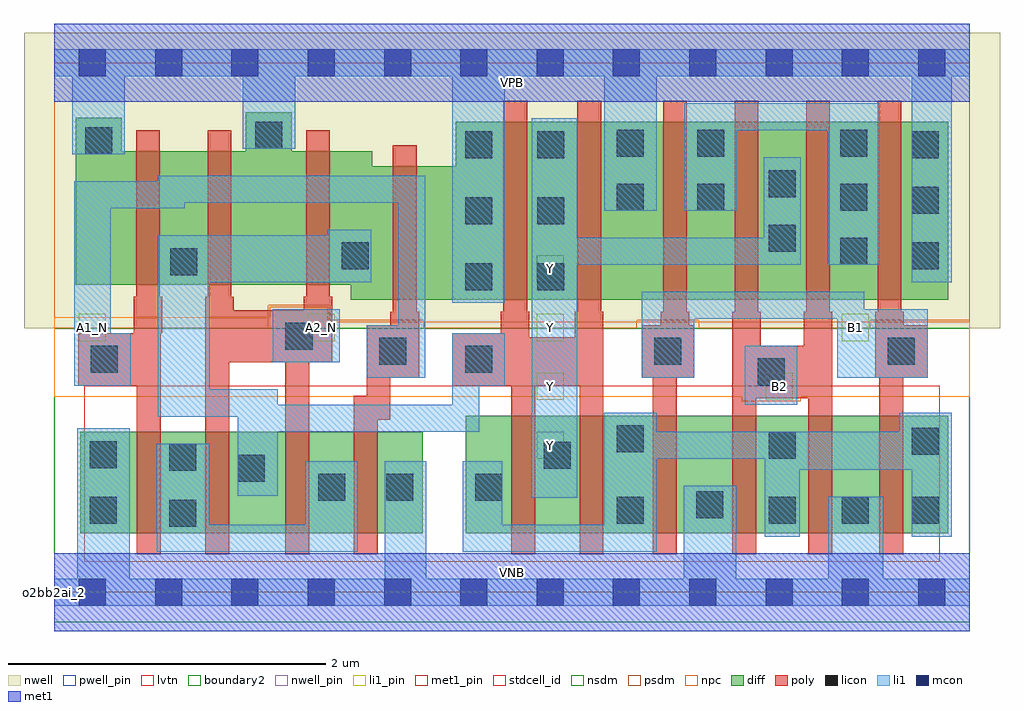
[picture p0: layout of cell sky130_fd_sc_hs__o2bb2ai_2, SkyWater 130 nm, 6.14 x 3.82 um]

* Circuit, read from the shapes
.subckt sky130_fd_sc_hs__o2bb2ai_2 A1_N A2_N B1 B2 VGND VNB VPB VPWR Y
XM1 n1 A1_N VGND VNB sky130_fd_pr__nfet_01v8_lvt w=0.64 l=0.15 m=2
XM2 n2 A2_N n1 VNB sky130_fd_pr__nfet_01v8_lvt w=0.64 l=0.15 m=2
XM3 Y n2 n3 VNB sky130_fd_pr__nfet_01v8_lvt w=0.74 l=0.15 m=2
XM4 VGND B1 n3 VNB sky130_fd_pr__nfet_01v8_lvt w=0.74 l=0.15 m=2
XM5 n3 B2 VGND VNB sky130_fd_pr__nfet_01v8_lvt w=0.74 l=0.15 m=2
XM6 n2 A1_N VPWR VPB sky130_fd_pr__pfet_01v8 w=0.84 l=0.15 m=2
XM7 VPWR A2_N n2 VPB sky130_fd_pr__pfet_01v8 w=0.84 l=0.15 m=2
XM8 Y n2 VPWR VPB sky130_fd_pr__pfet_01v8 w=1.12 l=0.15 m=2
XM9 n4 B1 VPWR VPB sky130_fd_pr__pfet_01v8 w=1.12 l=0.15 m=2
XM10 Y B2 n4 VPB sky130_fd_pr__pfet_01v8 w=1.12 l=0.15 m=2
.ends

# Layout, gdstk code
import gdstk
lib = gdstk.Library(unit=1e-6, precision=1e-09)
def R(c, l, rs):  # rectangles x0, y0, x1, y1
    for r in rs: c.add(gdstk.rectangle(r[:2], r[2:], *l))
def A(c, l, x, y, w, h, nx, ny, dx, dy):  # array of equal rectangles
    R(c, l, [(x+i*dx, y+j*dy, x+i*dx+w, y+j*dy+h) for i in range(nx) for j in range(ny)])
def P(c, l, *ps):  # polygons
    for p in ps: c.add(gdstk.Polygon(p, *l))
nwell_pin = (64, 16)
nwell = (64, 20)
diff = (65, 20)
poly = (66, 20)
licon = (66, 44)
li1_pin = (67, 16)
li1 = (67, 20)
mcon = (67, 44)
met1_pin = (68, 16)
met1 = (68, 20)
stdcell_id = (81, 4)
nsdm = (93, 44)
psdm = (94, 20)
npc = (95, 20)
pwell_pin = (122, 16)
lvtn = (125, 44)
boundary2 = (236, 0)

sky130_fd_sc_hs__o2bb2ai = lib.new_cell('sky130_fd_sc_hs__o2bb2ai_2')
R(sky130_fd_sc_hs__o2bb2ai, nwell_pin, [(0,3.085,5.76,3.33)])
R(sky130_fd_sc_hs__o2bb2ai, nwell, [(-0.19,1.66,5.95,3.52)])
R(sky130_fd_sc_hs__o2bb2ai, diff, [(0.165,0.37,2.32,1.01), (2.59,0.37,5.625,1.11)])
P(sky130_fd_sc_hs__o2bb2ai, diff, [(5.625,2.96),(2.525,2.96),(2.525,2.68),(2,2.68),(2,2.775),(1.495,2.775),(1.495,3.02),(1.205,3.02),(1.205,2.775),(0.425,2.775),(0.425,2.985),(0.135,2.985),(0.135,1.935),(1.865,1.935),(1.865,1.84),(5.625,1.84)])
P(sky130_fd_sc_hs__o2bb2ai, poly, [(5.495,1.68),(5.345,1.68),(5.345,1.765),(5.33,1.765),(5.33,3.09),(5.18,3.09),(5.18,1.765),(5.165,1.765),(5.165,1.35),(5.19,1.35),(5.19,0.24),(5.34,0.24),(5.34,1.35),(5.495,1.35)],
  [(4.895,1.765),(4.88,1.765),(4.88,3.09),(4.73,3.09),(4.73,1.765),(4.715,1.765),(4.715,1.55),(4.445,1.55),(4.445,1.765),(4.43,1.765),(4.43,3.09),(4.28,3.09),(4.28,1.765),(4.265,1.765),(4.265,0.24),(4.415,0.24),(4.415,1.22),(4.745,1.22),(4.745,0.24),(4.895,0.24)],
  [(4.025,1.68),(3.995,1.68),(3.995,1.765),(3.98,1.765),(3.98,3.09),(3.83,3.09),(3.83,1.765),(3.815,1.765),(3.815,1.68),(3.695,1.68),(3.695,1.35),(3.765,1.35),(3.765,0.24),(3.915,0.24),(3.915,1.35),(4.025,1.35)],
  [(3.455,1.765),(3.44,1.765),(3.44,3.09),(3.29,3.09),(3.29,1.765),(3.275,1.765),(3.275,1.605),(2.99,1.605),(2.99,1.765),(2.975,1.765),(2.975,3.09),(2.825,3.09),(2.825,1.765),(2.81,1.765),(2.81,1.63),(2.505,1.63),(2.505,1.3),(2.875,1.3),(2.875,0.24),(3.025,0.24),(3.025,1.3),(3.305,1.3),(3.305,0.24),(3.455,0.24)],
  [(2.295,1.765),(2.28,1.765),(2.28,2.81),(2.13,2.81),(2.13,1.765),(2.115,1.765),(2.115,1.68),(1.965,1.68),(1.965,1.235),(1.885,1.235),(1.885,0.24),(2.035,0.24),(2.035,1.085),(2.115,1.085),(2.115,1.35),(2.295,1.35)],
  [(1.75,1.86),(1.735,1.86),(1.735,2.905),(1.585,2.905),(1.585,1.86),(1.57,1.86),(1.57,1.775),(1.13,1.775),(1.13,1.86),(1.115,1.86),(1.115,2.905),(0.965,2.905),(0.965,1.86),(0.95,1.86),(0.95,0.24),(1.1,0.24),(1.1,1.445),(1.455,1.445),(1.455,0.24),(1.605,0.24),(1.605,1.445),(1.75,1.445)],
  [(0.68,1.86),(0.665,1.86),(0.665,2.905),(0.515,2.905),(0.515,1.86),(0.5,1.86),(0.5,1.63),(0.15,1.63),(0.15,1.3),(0.52,1.3),(0.52,0.24),(0.67,0.24),(0.67,1.63),(0.68,1.63)])
A(sky130_fd_sc_hs__o2bb2ai, licon, 2.585, 1.9, 0.17, 0.17, 1, 3, 0, 0.415)
A(sky130_fd_sc_hs__o2bb2ai, licon, 3.04, 1.9, 0.17, 0.17, 1, 3, 0, 0.415)
A(sky130_fd_sc_hs__o2bb2ai, licon, 5.395, 2.03, 0.17, 0.17, 1, 3, 0, 0.35)
A(sky130_fd_sc_hs__o2bb2ai, licon, 4.945, 2.06, 0.17, 0.17, 1, 3, 0, 0.34)
R(sky130_fd_sc_hs__o2bb2ai, licon, [(0.725,0.41,0.895,0.58), (0.225,0.43,0.395,0.6), (3.54,0.43,3.71,0.6), (4.495,0.43,4.665,0.6), (4.955,0.43,5.125,0.6), (5.395,0.43,5.565,0.6), (4.04,0.465,4.21,0.635), (1.66,0.575,1.83,0.745), (2.09,0.575,2.26,0.745), (2.65,0.575,2.82,0.745), (1.155,0.695,1.325,0.865), (0.725,0.765,0.895,0.935), (3.08,0.775,3.25,0.945), (0.225,0.78,0.395,0.95), (4.495,0.84,4.665,1.01), (5.395,0.865,5.565,1.035), (3.54,0.88,3.71,1.05), (4.425,1.3,4.595,1.47), (0.23,1.38,0.4,1.55), (2.585,1.38,2.755,1.55), (2.045,1.43,2.215,1.6), (3.775,1.43,3.945,1.6), (5.245,1.43,5.415,1.6), (1.455,1.525,1.625,1.695), (0.73,1.995,0.9,2.165), (1.81,2.03,1.98,2.2), (4.495,2.14,4.665,2.31), (3.54,2.4,3.71,2.57), (4.045,2.4,4.215,2.57), (4.495,2.485,4.665,2.655), (3.54,2.74,3.71,2.91), (4.045,2.74,4.215,2.91), (0.195,2.755,0.365,2.925), (1.265,2.79,1.435,2.96)])
A(sky130_fd_sc_hs__o2bb2ai, li1_pin, 0.155, 1.58, 0.17, 0.17, 3, 1, 1.44, 0)
R(sky130_fd_sc_hs__o2bb2ai, li1_pin, [(3.035,0.84,3.205,1.01), (3.035,1.21,3.205,1.38), (4.475,1.21,4.645,1.38), (4.955,1.58,5.125,1.75), (3.035,1.95,3.205,2.12)])
R(sky130_fd_sc_hs__o2bb2ai, li1, [(4.345,1.18,4.675,1.55), (1.375,1.445,1.795,1.78)])
P(sky130_fd_sc_hs__o2bb2ai, li1, [(0.115,2.755),(0.115,3.245),(0,3.245),(0,3.415),(5.76,3.415),(5.76,3.245),(5.645,3.245),(5.645,1.95),(5.395,1.95),(5.395,3.245),(3.79,3.245),(3.79,2.4),(3.46,2.4),(3.46,3.245),(2.835,3.245),(2.835,1.82),(2.505,1.82),(2.505,3.245),(1.515,3.245),(1.515,2.79),(1.185,2.79),(1.185,3.245),(0.445,3.245),(0.445,2.755)],
  [(4.87,0.085),(4.87,0.6),(5.215,0.6),(5.215,0.085),(5.76,0.085),(5.76,-0.085),(0,-0.085),(0,0.085),(0.145,0.085),(0.145,1.03),(0.475,1.03),(0.475,0.085),(2.08,0.085),(2.08,0.825),(2.34,0.825),(2.34,0.085),(3.96,0.085),(3.96,0.67),(4.29,0.67),(4.29,0.085)],
  [(0.65,1.105),(0.65,2.245),(1.72,2.245),(1.72,2.28),(1.995,2.28),(1.995,1.95),(0.98,1.95),(0.98,1.275),(1.405,1.275),(1.405,1.18),(2.505,1.18),(2.505,1.63),(2.835,1.63),(2.835,1.3),(2.675,1.3),(2.675,1.01),(1.405,1.01),(1.405,0.605),(1.155,0.605),(1.155,1.105)],
  [(3.695,1.89),(5.095,1.89),(5.095,1.78),(5.495,1.78),(5.495,1.35),(4.925,1.35),(4.925,1.72),(4.025,1.72),(4.025,1.35),(3.695,1.35)],
  [(0.65,2.585),(0.65,2.62),(2.335,2.62),(2.335,1.35),(1.965,1.35),(1.965,1.68),(2.165,1.68),(2.165,2.45),(0.82,2.45),(0.82,2.415),(0.355,2.415),(0.355,1.63),(0.48,1.63),(0.48,1.3),(0.125,1.3),(0.125,2.585)],
  [(5.645,1.13),(5.315,1.13),(5.315,1.01),(3.79,1.01),(3.79,1.13),(3.46,1.13),(3.46,0.425),(2.82,0.425),(2.82,0.825),(2.57,0.825),(2.57,0.255),(3.79,0.255),(3.79,0.84),(4.47,0.84),(4.47,0.35),(4.69,0.35),(4.69,0.77),(5.395,0.77),(5.395,0.35),(5.645,0.35)],
  [(3.005,1.13),(3.005,2.98),(3.29,2.98),(3.29,2.23),(4.465,2.23),(4.465,2.735),(4.695,2.735),(4.695,2.06),(3.29,2.06),(3.29,0.595),(3,0.595),(3,1.13)],
  [(1.58,0.425),(1.58,0.825),(1.91,0.825),(1.91,0.255),(0.645,0.255),(0.645,0.935),(0.975,0.935),(0.975,0.425)],
  [(5.195,3.075),(3.965,3.075),(3.965,2.4),(4.295,2.4),(4.295,2.905),(4.865,2.905),(4.865,2.06),(5.195,2.06)])
A(sky130_fd_sc_hs__o2bb2ai, mcon, 0.155, -0.085, 0.17, 0.17, 12, 2, 0.48, 3.33)
R(sky130_fd_sc_hs__o2bb2ai, met1_pin, [(0,0,5.76,0.245), (0,3.085,5.76,3.33)])
R(sky130_fd_sc_hs__o2bb2ai, met1, [(0,-0.245,5.76,0.245), (0,3.085,5.76,3.575)])
R(sky130_fd_sc_hs__o2bb2ai, stdcell_id, [(0,0,5.76,3.33)])
R(sky130_fd_sc_hs__o2bb2ai, nsdm, [(0,-0.19,5.76,1.66)])
P(sky130_fd_sc_hs__o2bb2ai, psdm, [(5.76,3.52),(0,3.52),(0,1.66),(1.345,1.66),(1.345,1.805),(1.735,1.805),(1.735,1.71),(2.325,1.71),(2.325,1.66),(3.665,1.66),(3.665,1.71),(4.055,1.71),(4.055,1.66),(5.135,1.66),(5.135,1.71),(5.76,1.71)])
P(sky130_fd_sc_hs__o2bb2ai, npc, [(5.76,1.7),(1.725,1.7),(1.725,1.795),(1.355,1.795),(1.355,1.73),(0,1.73),(0,1.23),(4.325,1.23),(4.325,1.2),(4.695,1.2),(4.695,1.23),(5.76,1.23)])
R(sky130_fd_sc_hs__o2bb2ai, pwell_pin, [(0,0,5.76,0.245)])
R(sky130_fd_sc_hs__o2bb2ai, lvtn, [(0.19,0.19,5.57,1.3)])
R(sky130_fd_sc_hs__o2bb2ai, boundary2, [(0,0,5.76,3.33)])
sky130_fd_sc_hs__o2bb2ai.add(gdstk.Label('o2bb2ai_2', (0,0), layer=83, texttype=44))
sky130_fd_sc_hs__o2bb2ai.add(gdstk.Label('VNB', (2.88,0.123), layer=64, texttype=59))
sky130_fd_sc_hs__o2bb2ai.add(gdstk.Label('VPB', (2.88,3.208), layer=64, texttype=5))
sky130_fd_sc_hs__o2bb2ai.add(gdstk.Label('VPWR', (2.88,3.208), layer=68, texttype=5))
sky130_fd_sc_hs__o2bb2ai.add(gdstk.Label('VGND', (2.88,0.123), layer=68, texttype=5))
sky130_fd_sc_hs__o2bb2ai.add(gdstk.Label('B2', (4.56,1.295), layer=67, texttype=5))
sky130_fd_sc_hs__o2bb2ai.add(gdstk.Label('A2_N', (1.68,1.665), layer=67, texttype=5))
sky130_fd_sc_hs__o2bb2ai.add(gdstk.Label('Y', (3.12,0.925), layer=67, texttype=5))
sky130_fd_sc_hs__o2bb2ai.add(gdstk.Label('Y', (3.12,1.295), layer=67, texttype=5))
sky130_fd_sc_hs__o2bb2ai.add(gdstk.Label('Y', (3.12,1.665), layer=67, texttype=5))
sky130_fd_sc_hs__o2bb2ai.add(gdstk.Label('Y', (3.12,2.035), layer=67, texttype=5))
sky130_fd_sc_hs__o2bb2ai.add(gdstk.Label('B1', (5.04,1.665), layer=67, texttype=5))
sky130_fd_sc_hs__o2bb2ai.add(gdstk.Label('A1_N', (0.24,1.665), layer=67, texttype=5))

lib.write_gds('sky130_fd_sc_hs__o2bb2ai_2.gds')
